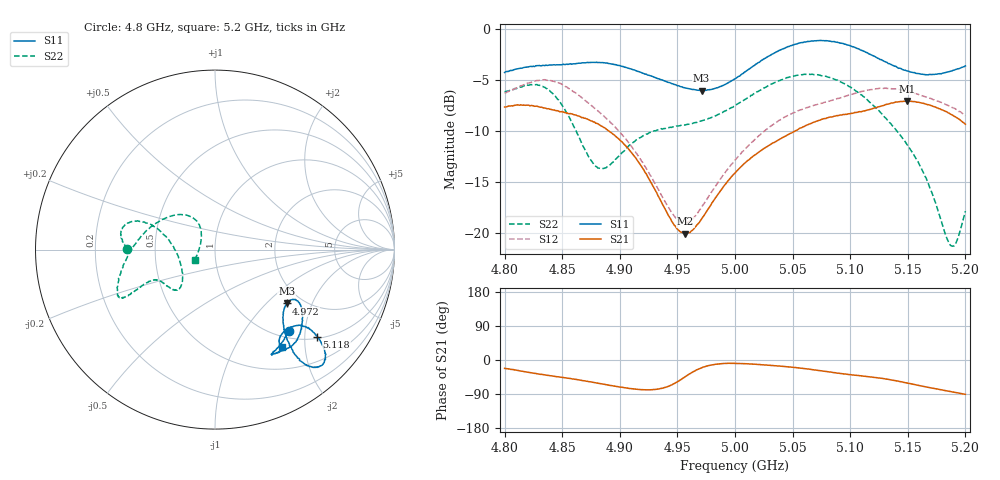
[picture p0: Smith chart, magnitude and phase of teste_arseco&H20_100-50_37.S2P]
! Network Analyzer HP8722D
! Hewlett-Packard
! Data name: Linha & Wilkinson
! Saver's name: Rodrigo Anjos
! Comments: Teste da utilização de aquisição
! continua pelo VNA HP8722D
! Time and date: 6/5/2025 12:52
!  Frequency  S11  S21  S12  S22
# HZ  S  MA R 50
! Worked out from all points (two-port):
!   401 points, 4.8 GHz to 5.2 GHz, reference 50 ohm
!   highest |S21| = -7.07 dB at 5.149 GHz (marker M1); lowest = -20.1 dB at 4.957 GHz (marker M2)
!   |S21| within 3 dB of the highest: start of sweep to 4.891 GHz; 5.051 GHz to end of sweep
!   lowest |S11| = -6.0 dB at 4.971 GHz (marker M3), VSWR 2.99, Z = 83.8 - j66.4 ohm
!   |S11| at or under -10 dB: nowhere
!   |S22| runs from -21.3 to -4.4 dB; largest |S21 - S12| = 0.95
!   S11 on the Smith chart (normalised r, x): 4.8 GHz: 1.13, -1.64; 4.972 GHz: 1.66, -1.33; 5.118 GHz: 1.05, -2.30; 5.2 GHz: 0.82, -1.57
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4.8e9  0.6118 -47.8  0.4145 -22.2  0.4844 -175.8  0.4922 179.8
4.821e9  0.6517 -58.5  0.4229 -32.5  0.5433 176.6  0.5292 171.0
4.837e9  0.6619 -61.7  0.4057 -40.5  0.5597 167.3  0.5089 163.1
4.852e9  0.6689 -59.7  0.3896 -46.8  0.5255 157.9  0.4051 158.6
4.867e9  0.6811 -55.0  0.3669 -54.1  0.4591 150.8  0.2751 166.5
4.886e9  0.6827 -48.5  0.3288 -63.8  0.3746 144.1  0.207 -158.8
4.912e9  0.6296 -39.4  0.2404 -76.4  0.2559 137.3  0.2788 -133.0
4.934e9  0.5692 -33.0  0.1492 -76.4  0.1614 141.1  0.3197 -135.8
4.957e9  0.5137 -32.8  0.09908 -43.8  0.1118 174.6  0.3388 -145.2
4.971e9  0.4987 -36.6  0.1169 -20.7  0.1338 -162.3  0.3543 -150.6
4.972e9  0.4989 -36.9  0.1193 -19.0  0.1363 -161.1  0.3555 -151.0
5e9  0.5699 -47.8  0.1965 -9.0  0.2273 -146.8  0.4198 -154.1
5.039e9  0.7869 -52.3  0.2885 -16.1  0.3574 -148.1  0.5587 -152.1
5.067e9  0.8723 -48.4  0.346 -25.4  0.4201 -154.5  0.5997 -155.1
5.095e9  0.8422 -43.4  0.3803 -37.0  0.4665 -162.4  0.5389 -166.7
5.118e9  0.7471 -40.5  0.4043 -44.5  0.504 -173.2  0.4321 173.0
5.134e9  0.6754 -40.3  0.4297 -51.6  0.5109 177.3  0.3478 153.1
5.149e9  0.6226 -42.7  0.4429 -60.5  0.4956 168.8  0.2731 134.2
5.166e9  0.5964 -48.4  0.4277 -71.0  0.4628 161.1  0.1853 122.7
5.187e9  0.6195 -54.9  0.3826 -83.4  0.4168 153.7  0.08685 157.8
5.192e9  0.6333 -55.4  0.368 -86.0  0.4033 151.9  0.08977 -179.0
5.2e9  0.6586 -55.7  0.3412 -90.6  0.376 149.4  0.1279 -152.4
